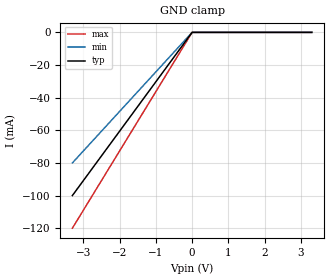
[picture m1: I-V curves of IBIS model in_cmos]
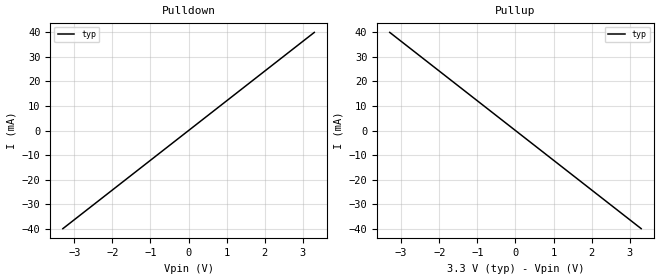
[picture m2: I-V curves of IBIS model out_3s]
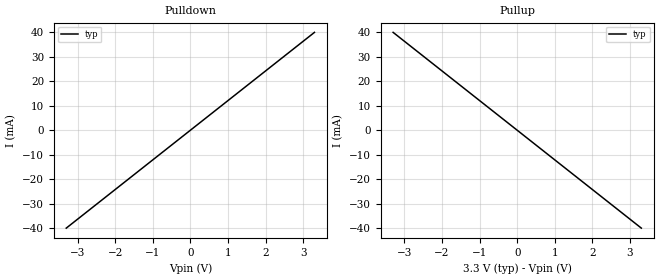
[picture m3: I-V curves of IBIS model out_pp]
| A hand-written IBIS file for the tests of kicad_part! with Sim.Device IBIS. The values do not
| describe a real device.
[IBIS Ver]   5.0
[File Name]   kicad_ibis.ibs
[File Rev]   1.0
[Component]   Board
[Manufacturer]  Example Corp.
[Package]
R_pkg   0.2   0.1   0.3
L_pkg   5nH   4nH   6nH
C_pkg   1.0pF   NA   NA
[Pin]  signal_name  model_name
1   TX   out_3s
2   RX   in_cmos
3   TXP   out_3s
4   TXN   out_3s
5   IO   io_sel
6   VCC   POWER
7   GND   GND
8   DRV   out_pp
[Diff Pin]  inv_pin  vdiff  tdelay_typ  tdelay_min  tdelay_max
3   4   0.1V   NA   NA   NA
[Model Selector] io_sel
out_3s   3-state output
in_cmos   CMOS input
| Models and submodels in the file (3): in_cmos (Input), out_3s (3-state), out_pp (Output)
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[Model]   in_cmos
Model_type   Input
Vinl = 0.8V
Vinh = 2.0V
C_comp   2.0pF   1.5pF   2.5pF
[Voltage Range]  3.3V  3.0V  3.6V
[GND Clamp]
-3.3V     -100mA     -80mA      -120mA
0V        0A         0A         0A
3.3V      0A         0A         0A
[Model]   out_3s
Model_type   3-state
C_comp   2p   1.5p   2.5p
[Voltage Range]  3.3V  3.0V  3.6V
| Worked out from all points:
|   slope of the pulldown table from 0 to 0.495 V, typ, clamps not added: 82.5 ohm
|   slope of the pullup table from 0 to 0.495 V, typ, clamps not added: 82.5 ohm
[Pulldown]
-3.3V     -40mA      NA         NA
0V        0A         NA         NA
3.3V      40mA       NA         NA
[Pullup]
-3.3V     40mA       NA         NA
0V        0A         NA         NA
3.3V      -40mA      NA         NA
[Ramp]
dV/dt_r   1.98/0.5n   1.8/0.6n   2.16/0.4n
dV/dt_f   1.98/0.4n   1.8/0.5n   2.16/0.3n
R_load = 50
| An output that cannot release the pin.
[Model]   out_pp
Model_type   Output
C_comp   2p   1.5p   2.5p
[Voltage Range]  3.3V  3.0V  3.6V
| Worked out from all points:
|   slope of the pulldown table from 0 to 0.495 V, typ, clamps not added: 82.5 ohm
|   slope of the pullup table from 0 to 0.495 V, typ, clamps not added: 82.5 ohm
[Pulldown]
-3.3V     -40mA      NA         NA
0V        0A         NA         NA
3.3V      40mA       NA         NA
[Pullup]
-3.3V     40mA       NA         NA
0V        0A         NA         NA
3.3V      -40mA      NA         NA
[Ramp]
dV/dt_r   1.98/0.5n   1.8/0.6n   2.16/0.4n
dV/dt_f   1.98/0.4n   1.8/0.5n   2.16/0.3n
R_load = 50
